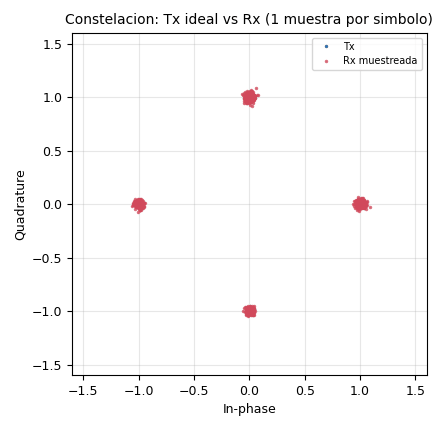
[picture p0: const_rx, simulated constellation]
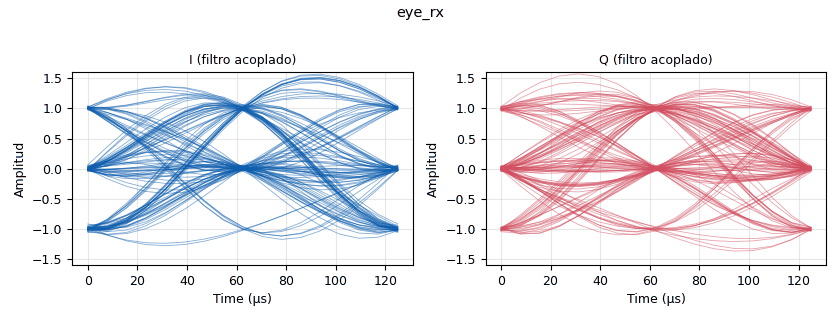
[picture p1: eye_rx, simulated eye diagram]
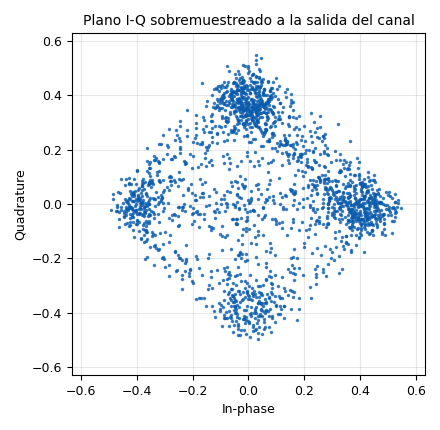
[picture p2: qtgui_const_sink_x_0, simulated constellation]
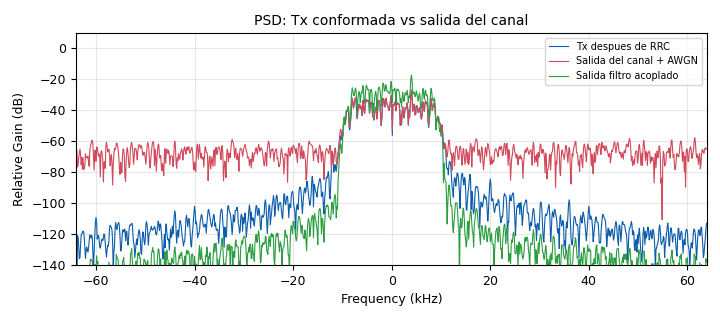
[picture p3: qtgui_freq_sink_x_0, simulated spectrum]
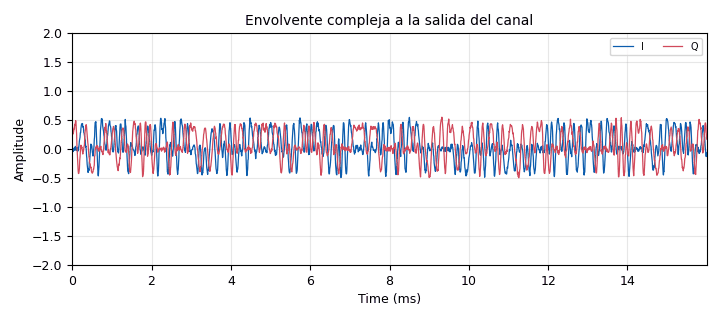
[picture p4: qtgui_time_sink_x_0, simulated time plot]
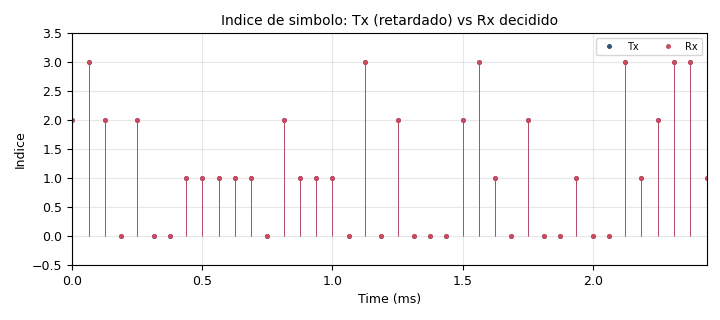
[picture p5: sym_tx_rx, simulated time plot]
options:
  parameters:
    author: Grupo A1-GG
    description: 'Construido sobre la base de la Guia 2. Tx RRC, canal AWGN calibrado en Es/N0 + interferencia senoidal, receptor: filtro acoplado RRC, diagrama de ojo, muestreo (Delay + Keep 1 in N), decision de minima distancia, comparacion Tx/Rx, SER y BER.'
    generate_options: qt_gui
    id: QPSK_DCI_Fase2_2_Rx
    output_language: python
    title: 'Fase 2.2 - Enlace QPSK (DCI): Tx RRC, canal AWGN + tono y receptor digital'
  states: {}

blocks:
- name: EbN0_dB
  id: variable_qtgui_label
  parameters:
    gui_hint: 1,1,1,1
    label: '"Eb/N0 [dB]"'
    type: real
    value: EsN0_dB - 10*math.log10(bps)
  states: {}
- name: EsN0_dB
  id: variable_qtgui_range
  parameters:
    gui_hint: 0,1,1,1
    label: '"Es/N0 [dB]"'
    start: '-5'
    step: '0.5'
    stop: '30'
    value: '30'
  states: {}
- name: M
  id: variable
  parameters:
    value: len(tabla_de_verdad_constelacion)
  states: {}
- name: N_ber
  id: variable
  parameters:
    value: '100000'
  states: {}
- name: Rb
  id: variable
  parameters:
    value: Rs*bps
  states: {}
- name: Rs
  id: variable
  parameters:
    comment: Escalado academico del enlace DCI (ver informe)
    value: '16000'
  states: {}
- name: SIR_dB
  id: variable_qtgui_label
  parameters:
    gui_hint: 1,0,1,1
    label: '"SIR [dB]"'
    type: raw
    value: round(10*math.log10((1.0/Sps)/(interf_amp**2)), 2) if interf_amp > 0 else 'sin interferencia'
  states: {}
- name: Sps
  id: variable
  parameters:
    value: '8'
  states: {}
- name: align
  id: variable
  parameters:
    value: (-span) % sym_por_byte
  states: {}
- name: beta
  id: variable_qtgui_range
  parameters:
    gui_hint: 0,0,1,1
    label: '"beta (roll-off)"'
    start: '0.10'
    step: '0.05'
    stop: '1.0'
    value: '0.35'
  states: {}
- name: bps
  id: variable
  parameters:
    value: int(math.log(M,2))
  states: {}
- name: byte_delay
  id: variable
  parameters:
    value: (span+align)//sym_por_byte
  states: {}
- name: cer
  id: variable_function_probe
  parameters:
    block_id: comparador_mensaje
    function_name: tasa_error_caracter
    poll_rate: '2'
    value: '0'
  states: {}
- name: constelacion_qpsk
  id: variable_constellation
  parameters:
    comment: Decisor de minima distancia sobre la tabla del curso
    const_points: tabla_de_verdad_constelacion
    dims: '1'
    normalization: digital.constellation.NO_NORMALIZATION
    precision: '8'
    rot_sym: '4'
    sym_map: '[0, 1, 2, 3]'
    type: calcdist
  states: {}
- name: interf_amp
  id: variable_qtgui_range
  parameters:
    gui_hint: 0,2,1,1
    label: '"Amplitud tono interferente"'
    start: '0'
    step: '0.01'
    stop: '0.5'
    value: '0'
  states: {}
- name: interf_freq
  id: variable_qtgui_range
  parameters:
    gui_hint: 1,2,1,1
    label: '"Frecuencia tono [Hz]"'
    start: '0'
    step: '100'
    stop: '40000'
    value: '6000'
  states: {}
- name: lbl_cer
  id: variable_qtgui_label
  parameters:
    gui_hint: pestanas@2:4,0,1,2
    label: '"Tasa de error de caracter"'
    type: real
    value: cer
  states: {}
- name: lbl_mensaje_rx
  id: variable_qtgui_label
  parameters:
    gui_hint: pestanas@2:3,0,1,2
    label: '"Mensaje recuperado "'
    type: string
    value: texto_rx
  states: {}
- name: lbl_mensaje_tx
  id: variable_qtgui_label
  parameters:
    gui_hint: pestanas@2:2,0,1,2
    label: '"Mensaje transmitido"'
    type: string
    value: mensaje
  states: {}
- name: mensaje
  id: variable
  parameters:
    comment: Mensaje conocido (solo ASCII)
    value: '"UIS - Comunicaciones II - Grupo A1-GG - Enlace QPSK DCI. "'
  states: {}
- name: noise_amp
  id: variable
  parameters:
    value: math.sqrt(10**(-EsN0_dB/10.0))
  states: {}
- name: ntaps
  id: variable
  parameters:
    value: span*Sps+1
  states: {}
- name: rrc_raw
  id: variable
  parameters:
    value: firdes.root_raised_cosine(1.0, samp_rate, Rs, beta, ntaps)
  states: {}
- name: rrc_taps
  id: variable
  parameters:
    value: '[t/math.sqrt(sum([x*x for x in rrc_raw])) for t in rrc_raw]'
  states: {}
- name: rx_delay
  id: variable
  parameters:
    value: Sps-1-t_offset
  states: {}
- name: samp_rate
  id: variable
  parameters:
    value: Rs*Sps
  states: {}
- name: span
  id: variable
  parameters:
    value: '11'
  states: {}
- name: sym_delay
  id: variable
  parameters:
    value: span
  states: {}
- name: sym_por_byte
  id: variable
  parameters:
    value: 8//bps
  states: {}
- name: t_offset
  id: variable_qtgui_range
  parameters:
    gui_hint: 0,3,1,1
    label: '"Desfase de muestreo [muestras]"'
    rangeType: int
    start: '-3'
    step: '1'
    stop: '4'
    value: '0'
  states: {}
- name: tabla_de_verdad_constelacion
  id: variable
  parameters:
    comment: Cambie esta tabla para OOK ASK BPSK QPSK 8PSK o 16QAM
    value: (1+0j, 0+1j, -1+0j, 0-1j)
  states: {}
- name: texto_rx
  id: variable_function_probe
  parameters:
    block_id: comparador_mensaje
    function_name: texto
    poll_rate: '2'
    value: '""'
  states: {}
- name: analog_noise_source_x_0
  id: analog_noise_source_x
  parameters:
    amp: noise_amp
    noise_type: analog.GR_GAUSSIAN
    seed: '0'
    type: complex
  states: {}
- name: ber_promedio
  id: blocks_moving_average_xx
  parameters:
    length: N_ber
    max_iter: '4000'
    scale: 1.0/N_ber
    type: float
  states: {}
- name: bits_error
  id: blocks_unpack_k_bits_bb
  parameters:
    k: bps
  states: {}
- name: bits_error_f
  id: blocks_char_to_float
  parameters:
    scale: '1'
  states: {}
- name: bits_to_symbols
  id: blocks_repack_bits_bb
  parameters:
    comment: 8 bits por byte -> simbolos de bps bits (MSB primero)
    endianness: gr.GR_MSB_FIRST
    k: '8'
    l: bps
  states: {}
- name: blocks_add_xx_0
  id: blocks_add_xx
  parameters:
    num_inputs: '3'
    type: complex
  states: {}
- name: comparador
  id: blocks_xor_xx
  parameters:
    type: byte
  states: {}
- name: comparador_mensaje
  id: epy_block
  parameters:
    _source_code: |
      """
      Receptor de texto: reconstruye el mensaje a partir de los bytes decididos
      y lo compara con el mensaje transmitido (retardado) caracter a caracter.
      """
      import numpy as np
      from gnuradio import gr


      class blk(gr.sync_block):
          def __init__(self, longitud=58, descartar=3):
              gr.sync_block.__init__(
                  self,
                  name='Comparador de mensaje',
                  in_sig=[np.uint8, np.uint8],   # in0: bytes recibidos, in1: bytes transmitidos (retardados)
                  out_sig=None
              )
              self.longitud = longitud
              self.descartar = descartar  # bytes previos al inicio del mensaje (retardo de los filtros)
              self.buf = bytearray()
              self.ultimo = ''
              self.n_car = 0
              self.n_err = 0

          def work(self, input_items, output_items):
              rx = input_items[0]
              tx = input_items[1]
              n = min(len(rx), len(tx))
              if self.descartar > 0:
                  k = min(self.descartar, n)
                  self.descartar -= k
                  return k
              self.n_car += n
              self.n_err += int(np.count_nonzero(rx[:n] != tx[:n]))
              self.buf.extend(rx[:n].tobytes())
              while len(self.buf) >= self.longitud:
                  linea = self.buf[:self.longitud]
                  del self.buf[:self.longitud]
                  self.ultimo = ''.join(chr(c) if 32 <= c < 127 else '?' for c in linea)
              return n

          def texto(self):
              return self.ultimo

          def tasa_error_caracter(self):
              return self.n_err / self.n_car if self.n_car else 0.0
    descartar: byte_delay
    longitud: len(mensaje)
  states: {}
- name: const_rx
  id: qtgui_const_sink_x
  parameters:
    color1: '"red"'
    color2: '"blue"'
    grid: 'True'
    gui_hint: pestanas@1:0,1,1,1
    label1: '"Tx"'
    label2: '"Rx muestreada"'
    name: '"Constelacion: Tx ideal vs Rx (1 muestra por simbolo)"'
    nconnections: '2'
    size: '1024'
    type: complex
    xmax: '1.6'
    xmin: '-1.6'
    ymax: '1.6'
    ymin: '-1.6'
  states: {}
- name: decisor_qpsk
  id: digital_constellation_decoder_cb
  parameters:
    constellation: constelacion_qpsk
  states: {}
- name: delay_alineacion_byte
  id: blocks_delay
  parameters:
    delay: align
    type: byte
  states: {}
- name: delay_muestreo
  id: blocks_delay
  parameters:
    delay: rx_delay
    type: complex
  states: {}
- name: delay_ref_bytes
  id: blocks_delay
  parameters:
    delay: byte_delay
    type: byte
  states: {}
- name: delay_ref_tx
  id: blocks_delay
  parameters:
    delay: sym_delay
    type: byte
  states: {}
- name: digital_chunks_to_symbols_xx_0
  id: digital_chunks_to_symbols_xx
  parameters:
    dimension: '1'
    in_type: byte
    out_type: complex
    symbol_table: tabla_de_verdad_constelacion
  states: {}
- name: eye_rx
  id: qtgui_eye_sink_x
  parameters:
    grid: 'True'
    gui_hint: pestanas@1:0,0,1,1
    label1: '"I (filtro acoplado)"'
    label2: '"Q (filtro acoplado)"'
    samp_per_symbol: Sps
    size: '2048'
    srate: samp_rate
    type: complex
    ylabel: '"Amplitud"'
    ymax: '1.6'
    ymin: '-1.6'
  states: {}
- name: fuente_mensaje
  id: blocks_vector_source_x
  parameters:
    comment: 'Vector Source: mensaje conocido'
    repeat: 'True'
    type: byte
    vector: list(mensaje.encode("ascii"))
  states: {}
- name: import_0
  id: import
  parameters:
    imports: import math
  states: {}
- name: muestreo_simbolo
  id: blocks_keep_one_in_n
  parameters:
    n: Sps
    type: complex
  states: {}
- name: pestanas
  id: qtgui_tab_widget
  parameters:
    gui_hint: 2,0,1,4
    label0: '"Tx y canal"'
    label1: '"Receptor"'
    label2: '"Validacion Tx vs Rx"'
    num_tabs: '3'
  states: {}
- name: qtgui_const_sink_x_0
  id: qtgui_const_sink_x
  parameters:
    autoscale: 'True'
    grid: 'True'
    gui_hint: pestanas@0:0,0,1,1
    label1: '"Salida del canal + AWGN"'
    legend: 'False'
    name: '"Plano I-Q sobremuestreado a la salida del canal"'
    size: '2048'
    type: complex
  states: {}
- name: qtgui_freq_sink_x_0
  id: qtgui_freq_sink_x
  parameters:
    bw: samp_rate
    fc: '0'
    fftsize: '1024'
    grid: 'True'
    gui_hint: pestanas@0:0,1,1,1
    label1: Tx despues de RRC
    label2: Salida del canal + AWGN
    label3: '"Salida filtro acoplado"'
    name: '"PSD: Tx conformada vs salida del canal"'
    nconnections: '3'
    type: complex
  states: {}
- name: qtgui_time_sink_x_0
  id: qtgui_time_sink_x
  parameters:
    grid: 'True'
    gui_hint: pestanas@0:1,0,1,2
    label1: I
    label2: Q
    name: '"Envolvente compleja a la salida del canal"'
    size: '2048'
    srate: samp_rate
    type: complex
    ymax: '2'
    ymin: '-2'
  states: {}
- name: rrc_rx
  id: fir_filter_xxx
  parameters:
    comment: 'Filtro acoplado: h_rx[n]=h_tx[-n] (RRC simetrico)'
    decim: '1'
    taps: rrc_taps
    type: ccf
  states: {}
- name: rrc_tx
  id: interp_fir_filter_xxx
  parameters:
    interp: Sps
    taps: rrc_taps
    type: ccf
  states: {}
- name: rx_idx_f
  id: blocks_char_to_float
  parameters:
    scale: '1'
  states: {}
- name: ser_promedio
  id: blocks_moving_average_xx
  parameters:
    length: N_ber//bps
    max_iter: '4000'
    scale: 1.0/(N_ber//bps)
    type: float
  states: {}
- name: simbolos_a_bytes
  id: blocks_repack_bits_bb
  parameters:
    endianness: gr.GR_MSB_FIRST
    k: bps
    l: '8'
  states: {}
- name: sym_error
  id: blocks_threshold_ff
  parameters:
    high: '0.5'
    init: '0'
    low: '0.5'
  states: {}
- name: sym_error_f
  id: blocks_char_to_float
  parameters:
    scale: '1'
  states: {}
- name: sym_tx_rx
  id: qtgui_time_sink_x
  parameters:
    grid: 'True'
    gui_hint: pestanas@2:0,0,1,2
    label1: '"Tx"'
    label2: '"Rx"'
    marker1: '0'
    marker2: '2'
    name: '"Indice de simbolo: Tx (retardado) vs Rx decidido"'
    nconnections: '2'
    size: '40'
    srate: Rs
    stemplot: 'True'
    type: float
    width1: '2'
    ylabel: '"Indice"'
    ymax: '3.5'
    ymin: '-0.5'
  states: {}
- name: tasas_error
  id: qtgui_number_sink
  parameters:
    graph_type: qtgui.NUM_GRAPH_VERT
    gui_hint: pestanas@2:1,0,1,2
    label1: '"BER"'
    label2: '"SER"'
    max: '0.5'
    min: '0'
    name: '"Tasas de error (ventana deslizante)"'
    nconnections: '2'
    type: float
    update_time: '0.20'
  states: {}
- name: throttle_0
  id: blocks_throttle2
  parameters:
    samples_per_second: samp_rate
    type: complex
  states: {}
- name: tono_interferente
  id: analog_sig_source_x
  parameters:
    amp: interf_amp
    freq: interf_freq
    offset: '0'
    phase: '0'
    samp_rate: samp_rate
    type: complex
    waveform: analog.GR_COS_WAVE
  states: {}
- name: tx_idx_f
  id: blocks_char_to_float
  parameters:
    scale: '1'
  states: {}

connections:
- [analog_noise_source_x_0, '0', blocks_add_xx_0, '1']
- [ber_promedio, '0', tasas_error, '0']
- [bits_error, '0', bits_error_f, '0']
- [bits_error_f, '0', ber_promedio, '0']
- [bits_to_symbols, '0', delay_ref_tx, '0']
- [bits_to_symbols, '0', digital_chunks_to_symbols_xx_0, '0']
- [blocks_add_xx_0, '0', qtgui_const_sink_x_0, '0']
- [blocks_add_xx_0, '0', qtgui_freq_sink_x_0, '1']
- [blocks_add_xx_0, '0', qtgui_time_sink_x_0, '0']
- [blocks_add_xx_0, '0', rrc_rx, '0']
- [comparador, '0', bits_error, '0']
- [comparador, '0', sym_error_f, '0']
- [decisor_qpsk, '0', comparador, '0']
- [decisor_qpsk, '0', delay_alineacion_byte, '0']
- [decisor_qpsk, '0', rx_idx_f, '0']
- [delay_alineacion_byte, '0', simbolos_a_bytes, '0']
- [delay_muestreo, '0', muestreo_simbolo, '0']
- [delay_ref_bytes, '0', comparador_mensaje, '1']
- [delay_ref_tx, '0', comparador, '1']
- [delay_ref_tx, '0', tx_idx_f, '0']
- [digital_chunks_to_symbols_xx_0, '0', const_rx, '0']
- [digital_chunks_to_symbols_xx_0, '0', rrc_tx, '0']
- [fuente_mensaje, '0', bits_to_symbols, '0']
- [fuente_mensaje, '0', delay_ref_bytes, '0']
- [muestreo_simbolo, '0', const_rx, '1']
- [muestreo_simbolo, '0', decisor_qpsk, '0']
- [rrc_rx, '0', delay_muestreo, '0']
- [rrc_rx, '0', eye_rx, '0']
- [rrc_rx, '0', qtgui_freq_sink_x_0, '2']
- [rrc_tx, '0', throttle_0, '0']
- [rx_idx_f, '0', sym_tx_rx, '1']
- [ser_promedio, '0', tasas_error, '1']
- [simbolos_a_bytes, '0', comparador_mensaje, '0']
- [sym_error, '0', ser_promedio, '0']
- [sym_error_f, '0', sym_error, '0']
- [throttle_0, '0', blocks_add_xx_0, '0']
- [throttle_0, '0', qtgui_freq_sink_x_0, '0']
- [tono_interferente, '0', blocks_add_xx_0, '2']
- [tx_idx_f, '0', sym_tx_rx, '0']

metadata:
  file_format: 1
  grc_version: 3.10.12.0
